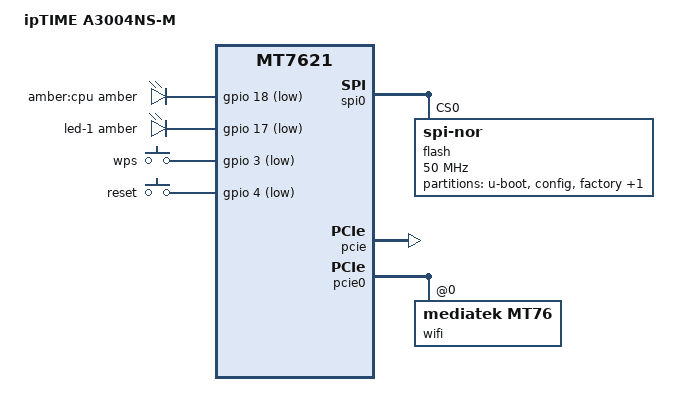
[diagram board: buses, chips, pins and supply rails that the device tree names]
// SPDX-License-Identifier: GPL-2.0-or-later OR MIT

#include "mt7621.dtsi"

#include <dt-bindings/gpio/gpio.h>
#include <dt-bindings/input/input.h>
#include <dt-bindings/leds/common.h>

/ {
	compatible = "iptime,a3004ns-m", "mediatek,mt7621-soc";
	model = "ipTIME A3004NS-M";

	aliases {
		led-boot = &led_cpu;
		led-failsafe = &led_cpu;
		led-running = &led_cpu;
		led-upgrade = &led_cpu;
	};

	leds {
		compatible = "gpio-leds";

		led_cpu: led-0 {
			label = "amber:cpu";
			color = <LED_COLOR_ID_AMBER>;
			function = LED_FUNCTION_CPU;
			gpios = <&gpio 18 GPIO_ACTIVE_LOW>;
		};

		led-1 {
			color = <LED_COLOR_ID_AMBER>;
			function = LED_FUNCTION_WLAN;
			gpios = <&gpio 17 GPIO_ACTIVE_LOW>;
		};
	};

	keys {
		compatible = "gpio-keys";

		wps {
			label = "wps";
			gpios = <&gpio 3 GPIO_ACTIVE_LOW>;
			linux,code = <KEY_WPS_BUTTON>;
		};

		reset {
			label = "reset";
			gpios = <&gpio 4 GPIO_ACTIVE_LOW>;
			linux,code = <KEY_RESTART>;
		};
	};
};

&spi0 {
	status = "okay";

	flash@0 {
		compatible = "jedec,spi-nor";
		reg = <0>;
		spi-max-frequency = <50000000>;

		partitions {
			compatible = "fixed-partitions";
			#address-cells = <1>;
			#size-cells = <1>;

			partition@0 {
				label = "u-boot";
				reg = <0x0 0x20000>;
				read-only;

				compatible = "nvmem-cells";
				#address-cells = <1>;
				#size-cells = <1>;

				macaddr_uboot_1fc20: macaddr@1fc20 {
					reg = <0x1fc20 0x6>;
				};

				macaddr_uboot_1fc40: macaddr@1fc40 {
					reg = <0x1fc40 0x6>;
				};
			};

			partition@20000 {
				label = "config";
				reg = <0x20000 0x10000>;
				read-only;
			};

			factory: partition@30000 {
				label = "factory";
				reg = <0x30000 0x10000>;
				read-only;
			};

			partition@40000 {
				compatible = "denx,uimage";
				label = "firmware";
				reg = <0x40000 0xfc0000>;
			};
		};
	};
};

&state_default {
	gpio {
		groups = "i2c", "jtag", "wdt";
		function = "gpio";
	};
};

&gmac0 {
	nvmem-cells = <&macaddr_uboot_1fc20>;
	nvmem-cell-names = "mac-address";
	mac-address-increment = <3>;
};

&switch0 {
	ports {
		port@0 {
			status = "okay";
			label = "lan1";
		};

		port@1 {
			status = "okay";
			label = "lan2";
		};

		port@2 {
			status = "okay";
			label = "lan3";
		};

		port@3 {
			status = "okay";
			label = "lan4";
		};

		port@4 {
			status = "okay";
			label = "wan";
			nvmem-cells = <&macaddr_uboot_1fc40>;
			nvmem-cell-names = "mac-address";
		};
	};
};

&pcie {
	status = "okay";
};

&pcie0 {
	wifi@0,0 {
		compatible = "mediatek,mt76";
		reg = <0x0000 0 0 0 0>;
		mediatek,mtd-eeprom = <&factory 0x0>;
	};
};
